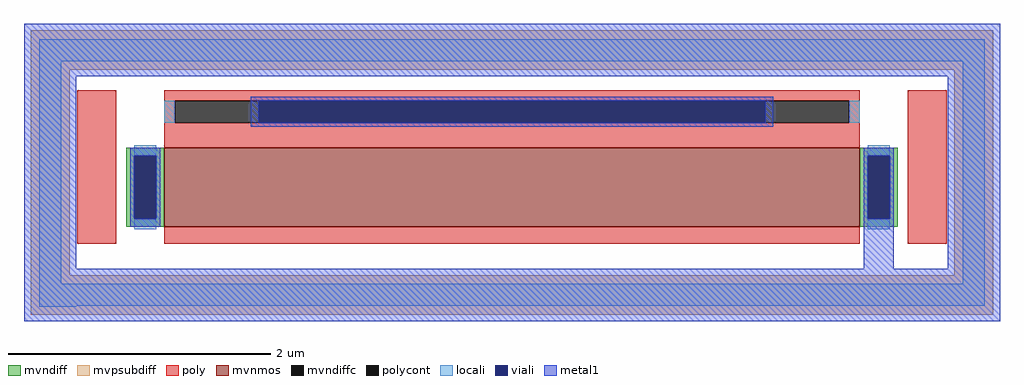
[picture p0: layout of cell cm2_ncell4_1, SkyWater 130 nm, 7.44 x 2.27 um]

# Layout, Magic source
magic
tech sky130A
magscale 1 2
<< mvpsubdiff >>
rect 1805 1925 3273 1985
rect 1805 1612 1865 1925
rect 3213 1612 3273 1925
rect 1805 1552 3273 1612
<< poly >>
rect 1876 1660 1936 1894
rect 3142 1660 3202 1894
<< locali >>
rect 1818 1938 3260 1972
rect 1818 1599 1852 1938
rect 3226 1599 3260 1938
rect 1818 1565 3260 1599
rect 1818 1564 1875 1565
<< metal1 >>
rect 1795 1915 3283 1995
rect 1795 1622 1875 1915
rect 3075 1622 3121 1686
rect 3203 1622 3283 1915
rect 1795 1542 3283 1622
use sky130_fd_pr__nfet_g5v0d10v5_SZ2N2S  sky130_fd_pr__nfet_g5v0d10v5_SZ2N2S_0
transform 1 0 2539 0 1 1777
box -588 -117 588 117
<< end >>

# cell sky130_fd_pr__nfet_g5v0d10v5_SZ2N2S: kit device sky130_fd_pr__nfet_g5v0d10v5, w 0.6 l 5.3 m 1 nf 1 diffcov 100 polycov 100 guard 0 glc 1 grc 1 gtc 1 gbc 1 tbcov 100 rlcov 100 topc 1 botc 0 poverlap 0 doverlap 1 lmin 0.50 wmin 0.42 compatible {sky130_fd_pr__nfet_01v8 sky130_fd_pr__nfet_01v8_lvt sky130_fd_bs_flash__special_sonosfet_star sky130_fd_pr__nfet_g5v0d10v5 sky130_fd_pr__nfet_05v0_nvt sky130_fd_pr__nfet_03v3_nvt} full_metal 1 viasrc 100 viadrn 100 viagate 75 viagb 0 viagr 0 viagl 0 viagt 0
